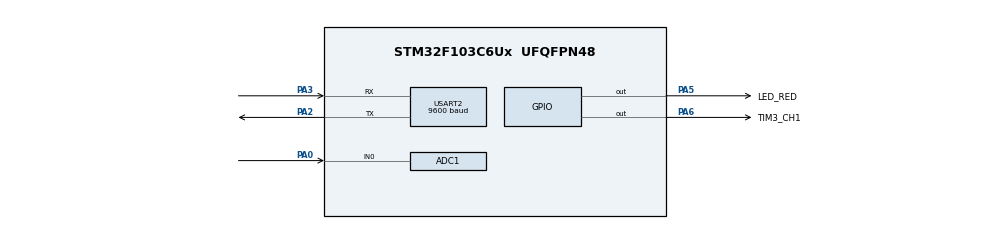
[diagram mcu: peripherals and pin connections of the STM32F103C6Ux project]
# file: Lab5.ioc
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ADC1.Channel-0\#ChannelRegularConversion=ADC_CHANNEL_0
ADC1.ContinuousConvMode=ENABLE
ADC1.NbrOfConversionFlag=1
ADC1.Rank-0\#ChannelRegularConversion=1
ADC1.SamplingTime-0\#ChannelRegularConversion=ADC_SAMPLETIME_1CYCLE_5
ADC1.master=1
Mcu.Family=STM32F1
Mcu.Name=STM32F103C6Ux
Mcu.Package=UFQFPN48
NVIC.PriorityGroup=NVIC_PRIORITYGROUP_4
NVIC.TIM2_IRQn=true\:0\:0\:false\:false\:true\:true\:true
NVIC.USART2_IRQn=true\:0\:0\:false\:false\:true\:true\:true
PA0-WKUP.Signal=ADCx_IN0
PA2.Mode=Asynchronous
PA2.Signal=USART2_TX
PA3.Mode=Asynchronous
PA3.Signal=USART2_RX
PA5.GPIO_Label=LED_RED
PA5.Signal=GPIO_Output
PA6.GPIO_Label=TIM3_CH1
PA6.Signal=GPIO_Output
ProjectManager.HeapSize=0x200
ProjectManager.StackSize=0x400
ProjectManager.TargetToolchain=STM32CubeIDE
RCC.APB1Freq_Value=8000000
RCC.APB2Freq_Value=8000000
SH.ADCx_IN0.0=ADC1_IN0,IN0
TIM2.Period=9
TIM2.Prescaler=7999
USART2.BaudRate=9600
USART2.VirtualMode=VM_ASYNC
VP_SYS_VS_ND.Mode=No_Debug
VP_TIM2_VS_ClockSourceINT.Mode=Internal
board=custom

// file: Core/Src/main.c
/* USER CODE BEGIN Header */
/**
  ******************************************************************************
  * @file           : main.c
  * @brief          : Main program body
  ******************************************************************************
  * @attention
  *
  * <h2><center>&copy; Copyright (c) 2025 STMicroelectronics.
  * All rights reserved.</center></h2>
  *
  * This software component is licensed by ST under BSD 3-Clause license,
  * the "License"; You may not use this file except in compliance with the
  * License. You may obtain a copy of the License at:
  *                        opensource.org/licenses/BSD-3-Clause
  *
  ******************************************************************************
  */
/* USER CODE END Header */
#include "main.h"
#include <stdio.h>
/* USER CODE BEGIN Includes */
#include "fsm_command_parser.h"
#include "fsm_communication.h"

/* USER CODE END Includes */

ADC_HandleTypeDef hadc1;

TIM_HandleTypeDef htim2;

UART_HandleTypeDef huart2;

/* USER CODE BEGIN PV */
uint8_t buffer[MAX_BUFFER_SIZE]; // Buffer chứa dữ liệu nhận được
uint8_t index_buffer = 0;        // Chỉ mục của buffer
uint8_t buffer_flag = 0;         // Cờ báo có dữ liệu mới
uint32_t ADC_value = 0;          // Biến ADC

extern CommandType command_flag;
/* USER CODE END PV */

void SystemClock_Config(void);
static void MX_GPIO_Init(void);
static void MX_ADC1_Init(void);
static void MX_USART2_UART_Init(void);
static void MX_TIM2_Init(void);

/* USER CODE BEGIN 0 */
uint8_t temp = 0;

void HAL_UART_RxCpltCallback ( UART_HandleTypeDef * huart ) {
	if ( huart->Instance == USART2 ) {
		// Ghi vào buffer
		buffer [index_buffer++] = temp;

		// Xử lý tràn buffer (reset)
		if (index_buffer == MAX_BUFFER_SIZE) {
            index_buffer = 0;
        }

		buffer_flag = 1;

		// Kích hoạt lại ngắt nhận
		HAL_UART_Transmit (& huart2 , & temp , 1 , 50) ;
		HAL_UART_Receive_IT (& huart2 , & temp , 1) ;
	}
}
/* USER CODE END 0 */

int main(void)
{

  /* MCU Configuration--------------------------------------------------------*/

  /* Reset of all peripherals, Initializes the Flash interface and the Systick. */
  HAL_Init();

  /* Configure the system clock */
  SystemClock_Config();

  /* Initialize all configured peripherals */
  MX_GPIO_Init();
  MX_ADC1_Init();
  MX_USART2_UART_Init();
  MX_TIM2_Init();
  /* USER CODE BEGIN 2 */
//  char str[20];

  // Bắt đầu chuyển đổi ADC liên tục (ContinuousConvMode = ENABLE)
  if (HAL_ADC_Start(&hadc1) != HAL_OK)
  {
  	Error_Handler();
  }
  /* USER CODE END 2 */
  HAL_UART_Receive_IT(&huart2, &temp, 1);
  /* Infinite loop */
  /* USER CODE BEGIN WHILE */

  HAL_ADC_Start(&hadc1);
  while (1)
    {
      /* USER CODE END WHILE */
  	  HAL_GPIO_TogglePin(LED_RED_GPIO_Port, LED_RED_Pin);

  	  HAL_ADC_PollForConversion(&hadc1, 10);
  	  ADC_value = HAL_ADC_GetValue(&hadc1);
//  	  HAL_UART_Transmit(&huart2, (void *)str,sprintf(str, "%lu\r\n",ADC_value), 1000);

  	  // Xử lý FSM Parser
  	  if(buffer_flag == 1) {
  		  command_parser_fsm();
  		  buffer_flag = 0;
  	  }

  		// Xử lý FSM Communication
  		uart_communiation_fsm();

  	  HAL_Delay(500);

    }
}

void SystemClock_Config(void)
{
  RCC_OscInitTypeDef RCC_OscInitStruct = {0};
  RCC_ClkInitTypeDef RCC_ClkInitStruct = {0};
  RCC_PeriphCLKInitTypeDef PeriphClkInit = {0};

  /** Initializes the RCC Oscillators according to the specified parameters
  * in the RCC_OscInitTypeDef structure.
  */
  RCC_OscInitStruct.OscillatorType = RCC_OSCILLATORTYPE_HSI;
  RCC_OscInitStruct.HSIState = RCC_HSI_ON;
  RCC_OscInitStruct.HSICalibrationValue = RCC_HSICALIBRATION_DEFAULT;
  RCC_OscInitStruct.PLL.PLLState = RCC_PLL_NONE;
  if (HAL_RCC_OscConfig(&RCC_OscInitStruct) != HAL_OK)
  {
    Error_Handler();
  }
  /** Initializes the CPU, AHB and APB buses clocks
  */
  RCC_ClkInitStruct.ClockType = RCC_CLOCKTYPE_HCLK|RCC_CLOCKTYPE_SYSCLK
                              |RCC_CLOCKTYPE_PCLK1|RCC_CLOCKTYPE_PCLK2;
  RCC_ClkInitStruct.SYSCLKSource = RCC_SYSCLKSOURCE_HSI;
  RCC_ClkInitStruct.AHBCLKDivider = RCC_SYSCLK_DIV1;
  RCC_ClkInitStruct.APB1CLKDivider = RCC_HCLK_DIV1;
  RCC_ClkInitStruct.APB2CLKDivider = RCC_HCLK_DIV1;

  if (HAL_RCC_ClockConfig(&RCC_ClkInitStruct, FLASH_LATENCY_0) != HAL_OK)
  {
    Error_Handler();
  }
  PeriphClkInit.PeriphClockSelection = RCC_PERIPHCLK_ADC;
  PeriphClkInit.AdcClockSelection = RCC_ADCPCLK2_DIV2;
  if (HAL_RCCEx_PeriphCLKConfig(&PeriphClkInit) != HAL_OK)
  {
    Error_Handler();
  }
}

static void MX_ADC1_Init(void)
{

  ADC_ChannelConfTypeDef sConfig = {0};

  /** Common config
  */
  hadc1.Instance = ADC1;
  hadc1.Init.ScanConvMode = ADC_SCAN_DISABLE;
  hadc1.Init.ContinuousConvMode = ENABLE;
  hadc1.Init.DiscontinuousConvMode = DISABLE;
  hadc1.Init.ExternalTrigConv = ADC_SOFTWARE_START;
  hadc1.Init.DataAlign = ADC_DATAALIGN_RIGHT;
  hadc1.Init.NbrOfConversion = 1;
  if (HAL_ADC_Init(&hadc1) != HAL_OK)
  {
    Error_Handler();
  }
  /** Configure Regular Channel
  */
  sConfig.Channel = ADC_CHANNEL_0;
  sConfig.Rank = ADC_REGULAR_RANK_1;
  sConfig.SamplingTime = ADC_SAMPLETIME_1CYCLE_5;
  if (HAL_ADC_ConfigChannel(&hadc1, &sConfig) != HAL_OK)
  {
    Error_Handler();
  }

}

static void MX_TIM2_Init(void)
{

  TIM_ClockConfigTypeDef sClockSourceConfig = {0};
  TIM_MasterConfigTypeDef sMasterConfig = {0};

  htim2.Instance = TIM2;
  htim2.Init.Prescaler = 7999;
  htim2.Init.CounterMode = TIM_COUNTERMODE_UP;
  htim2.Init.Period = 9;
  htim2.Init.ClockDivision = TIM_CLOCKDIVISION_DIV1;
  htim2.Init.AutoReloadPreload = TIM_AUTORELOAD_PRELOAD_DISABLE;
  if (HAL_TIM_Base_Init(&htim2) != HAL_OK)
  {
    Error_Handler();
  }
  sClockSourceConfig.ClockSource = TIM_CLOCKSOURCE_INTERNAL;
  if (HAL_TIM_ConfigClockSource(&htim2, &sClockSourceConfig) != HAL_OK)
  {
    Error_Handler();
  }
  sMasterConfig.MasterOutputTrigger = TIM_TRGO_RESET;
  sMasterConfig.MasterSlaveMode = TIM_MASTERSLAVEMODE_DISABLE;
  if (HAL_TIMEx_MasterConfigSynchronization(&htim2, &sMasterConfig) != HAL_OK)
  {
    Error_Handler();
  }

}

static void MX_USART2_UART_Init(void)
{

  huart2.Instance = USART2;
  huart2.Init.BaudRate = 9600;
  huart2.Init.WordLength = UART_WORDLENGTH_8B;
  huart2.Init.StopBits = UART_STOPBITS_1;
  huart2.Init.Parity = UART_PARITY_NONE;
  huart2.Init.Mode = UART_MODE_TX_RX;
  huart2.Init.HwFlowCtl = UART_HWCONTROL_NONE;
  huart2.Init.OverSampling = UART_OVERSAMPLING_16;
  if (HAL_UART_Init(&huart2) != HAL_OK)
  {
    Error_Handler();
  }

}

static void MX_GPIO_Init(void)
{
  GPIO_InitTypeDef GPIO_InitStruct = {0};

  /* GPIO Ports Clock Enable */
  __HAL_RCC_GPIOA_CLK_ENABLE();

  /*Configure GPIO pin Output Level */
  HAL_GPIO_WritePin(GPIOA, LED_RED_Pin|TIM3_CH1_Pin, GPIO_PIN_RESET);

  /*Configure GPIO pins : LED_RED_Pin TIM3_CH1_Pin */
  GPIO_InitStruct.Pin = LED_RED_Pin|TIM3_CH1_Pin;
  GPIO_InitStruct.Mode = GPIO_MODE_OUTPUT_PP;
  GPIO_InitStruct.Pull = GPIO_NOPULL;
  GPIO_InitStruct.Speed = GPIO_SPEED_FREQ_LOW;
  HAL_GPIO_Init(GPIOA, &GPIO_InitStruct);

}

void Error_Handler(void)
{
  __disable_irq();
  while (1)
  {
  }
}

/************************ (C) COPYRIGHT STMicroelectronics *****END OF FILE****/
